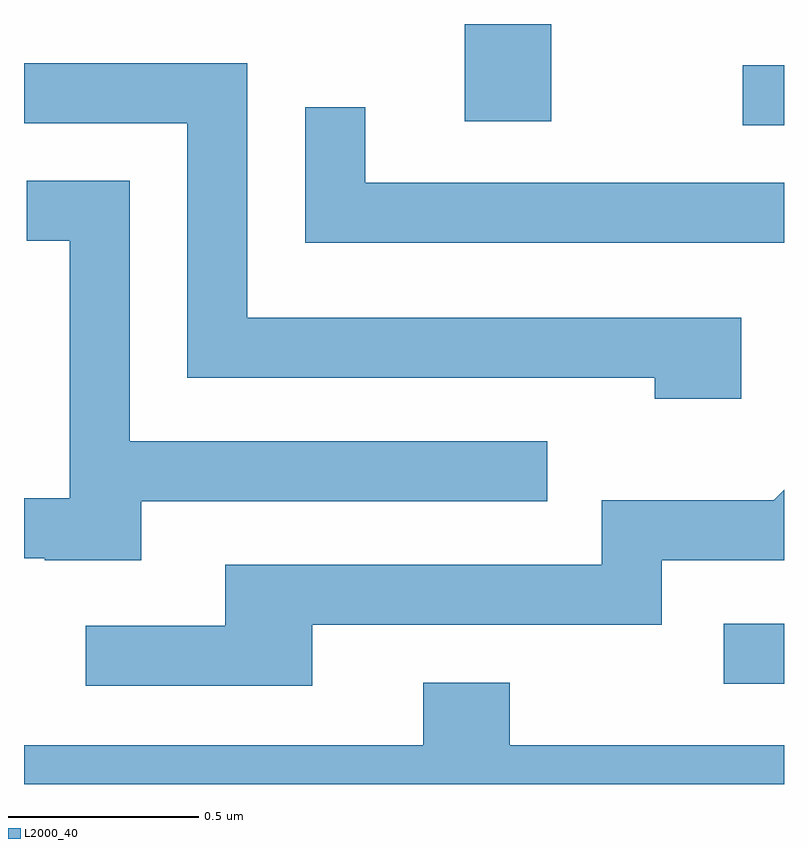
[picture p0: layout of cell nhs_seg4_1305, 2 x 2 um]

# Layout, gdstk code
import gdstk
lib = gdstk.Library(unit=1e-6, precision=1e-09)
def R(c, l, rs):  # rectangles x0, y0, x1, y1
    for r in rs: c.add(gdstk.rectangle(r[:2], r[2:], *l))
def P(c, l, *ps):  # polygons
    for p in ps: c.add(gdstk.Polygon(p, *l))
L2000_40 = (2000, 40)

nhs_seg4_1305 = lib.new_cell('nhs_seg4_1305')
R(nhs_seg4_1305, L2000_40, [(196.453,1326.246,196.611,1326.404), (196.503,1327.716,196.611,1327.874), (195.771,1327.726,195.999,1327.982)])
P(nhs_seg4_1305, L2000_40, [(196.499,1327.209),(195.199,1327.209),(195.199,1327.879),(194.611,1327.879),(194.611,1327.721),(195.041,1327.721),(195.041,1327.051),(196.271,1327.051),(196.271,1326.996),(196.499,1326.996)],
  [(196.611,1327.564),(195.509,1327.564),(195.509,1327.763),(195.351,1327.763),(195.351,1327.406),(196.611,1327.406)],
  [(194.919,1326.726),(195.988,1326.726),(195.988,1326.884),(194.889,1326.884),(194.889,1327.569),(194.618,1327.569),(194.618,1327.411),(194.731,1327.411),(194.731,1326.734),(194.611,1326.734),(194.611,1326.576),(194.665,1326.576),(194.665,1326.571),(194.919,1326.571)],
  [(195.369,1326.401),(196.289,1326.401),(196.289,1326.571),(196.611,1326.571),(196.611,1326.756),(196.584,1326.729),(196.131,1326.729),(196.131,1326.559),(195.141,1326.559),(195.141,1326.399),(194.773,1326.399),(194.773,1326.241),(195.369,1326.241)],
  [(196.611,1326.084),(195.889,1326.084),(195.889,1326.249),(195.661,1326.249),(195.661,1326.084),(194.611,1326.084),(194.611,1325.982),(196.611,1325.982)])

lib.write_gds('nhs_seg4_1305.gds')
